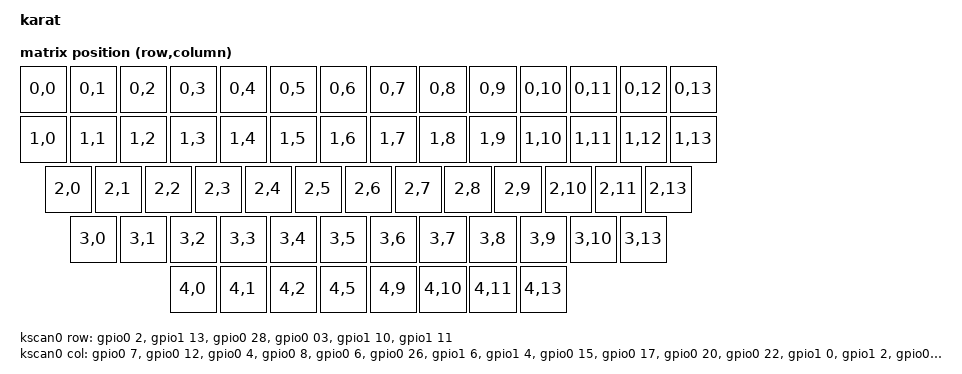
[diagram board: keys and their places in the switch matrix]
/*
 * Copyright (c) 2017 Linaro Limited
 *
 * SPDX-License-Identifier: Apache-2.0
 */

/dts-v1/;
#include <nordic/nrf52840_qiaa.dtsi>

#include <dt-bindings/led/led.h>
#include <dt-bindings/zmk/matrix_transform.h>

#include "karat-pinctrl.dtsi"

/ {
    model = "karat";
    compatible = "nordic,karat";

    chosen {
        zephyr,code-partition = &slot0_partition;
        zephyr,sram = &sram0;
        zephyr,flash = &flash0;
        zephyr,console = &cdc_acm_uart;
        //zmk,battery = &vbatt;
        zmk,kscan = &kscan0;
        zmk,matrix_transform = &default_transform;
        zmk,underglow = &led_strip;
        zephyr,ieee802154 = &ieee802154;
    };

    default_transform: keymap_transform_0 {
        compatible = "zmk,matrix-transform";
        columns = <16>;
        rows = <6>;
        map = <
RC(0,0) RC(0,1) RC(0,2) RC(0,3) RC(0,4) RC(0,5) RC(0,6) RC(0,7) RC(0,8) RC(0,9) RC(0,10) RC(0,11) RC(0,12)     RC(0,13)
RC(1,0)   RC(1,1) RC(1,2) RC(1,3) RC(1,4) RC(1,5) RC(1,6) RC(1,7) RC(1,8) RC(1,9) RC(1,10) RC(1,11) RC(1,12)   RC(1,13)
RC(2,0)     RC(2,1) RC(2,2) RC(2,3) RC(2,4) RC(2,5) RC(2,6) RC(2,7) RC(2,8) RC(2,9) RC(2,10) RC(2,11)          RC(2,13)
RC(3,0)       RC(3,1) RC(3,2) RC(3,3) RC(3,4) RC(3,5) RC(3,6) RC(3,7) RC(3,8) RC(3,9)    RC(3,10)              RC(3,13)
RC(4,0)   RC(4,1)   RC(4,2)                      RC(4,5)                       RC(4,9)   RC(4,10)   RC(4,11)   RC(4,13)
        >;
    };

    kscan0: kscan {
        compatible = "zmk,kscan-gpio-matrix";
        label = "KSCAN";

        diode-direction = "col2row";
        row-gpios
            = <&gpio0 2  (GPIO_ACTIVE_HIGH | GPIO_PULL_DOWN)>
            , <&gpio1 13 (GPIO_ACTIVE_HIGH | GPIO_PULL_DOWN)>
            , <&gpio0 28 (GPIO_ACTIVE_HIGH | GPIO_PULL_DOWN)>
            , <&gpio0 03 (GPIO_ACTIVE_HIGH | GPIO_PULL_DOWN)>
            , <&gpio1 10 (GPIO_ACTIVE_HIGH | GPIO_PULL_DOWN)>
            , <&gpio1 11 (GPIO_ACTIVE_HIGH | GPIO_PULL_DOWN)>
            ;
        col-gpios
            = <&gpio0 7  GPIO_ACTIVE_HIGH>
            , <&gpio0 12 GPIO_ACTIVE_HIGH>
            , <&gpio0 4  GPIO_ACTIVE_HIGH>
            , <&gpio0 8  GPIO_ACTIVE_HIGH>
            , <&gpio0 6  GPIO_ACTIVE_HIGH>
            , <&gpio0 26 GPIO_ACTIVE_HIGH>
            , <&gpio1 6  GPIO_ACTIVE_HIGH>
            , <&gpio1 4  GPIO_ACTIVE_HIGH>
            , <&gpio0 15 GPIO_ACTIVE_HIGH>
            , <&gpio0 17 GPIO_ACTIVE_HIGH>
            , <&gpio0 20 GPIO_ACTIVE_HIGH>
            , <&gpio0 22 GPIO_ACTIVE_HIGH>
            , <&gpio1 0  GPIO_ACTIVE_HIGH>
            , <&gpio1 2  GPIO_ACTIVE_HIGH>
            , <&gpio0 13 GPIO_ACTIVE_HIGH>
            , <&gpio0 24 GPIO_ACTIVE_HIGH>
            ;
    };

    /*ext-power {
        compatible = "zmk,ext-power-generic";
        label = "EXT_POWER";
        control-gpios = <&gpio0 9 (GPIO_ACTIVE_LOW | GPIO_PULL_DOWN)>;
    };*/

    vbatt: vbatt {
        compatible = "zmk,battery-voltage-divider";
        label = "BATTERY";
        io-channels = <&adc 6>;
        output-ohms = <2000000>;
        full-ohms = <(2000000 + 806000)>;
    };
};

&adc {
    status = "okay";
};

&gpiote {
    status = "okay";
};

&gpio0 {
    status = "okay";
};

&gpio1 {
    status = "okay";
};

&ieee802154 {
	status = "okay";
};

&spi3 {
    compatible = "nordic,nrf-spim";

    pinctrl-0 = <&spi3_default>;
    pinctrl-names = "default";
    status = "okay";

    led_strip: ws2812@0 {
        compatible = "worldsemi,ws2812-spi";
        label = "WS2812";

        /* SPI */
        reg = <0>; /* ignored, but necessary for SPI bindings */
        spi-max-frequency = <4000000>;

        /* WS2812 */
        chain-length = <12>; /* LED strip length */
        spi-one-frame = <0x70>;
        spi-zero-frame = <0x40>;
        color-mapping = <LED_COLOR_ID_GREEN LED_COLOR_ID_RED LED_COLOR_ID_BLUE>;
    };
};


&usbd {
    status = "okay";
    cdc_acm_uart: cdc_acm_uart {
        compatible = "zephyr,cdc-acm-uart";
        label = "CDC_ACM_0";
    };
};


#include "fstab-stock.dts"
